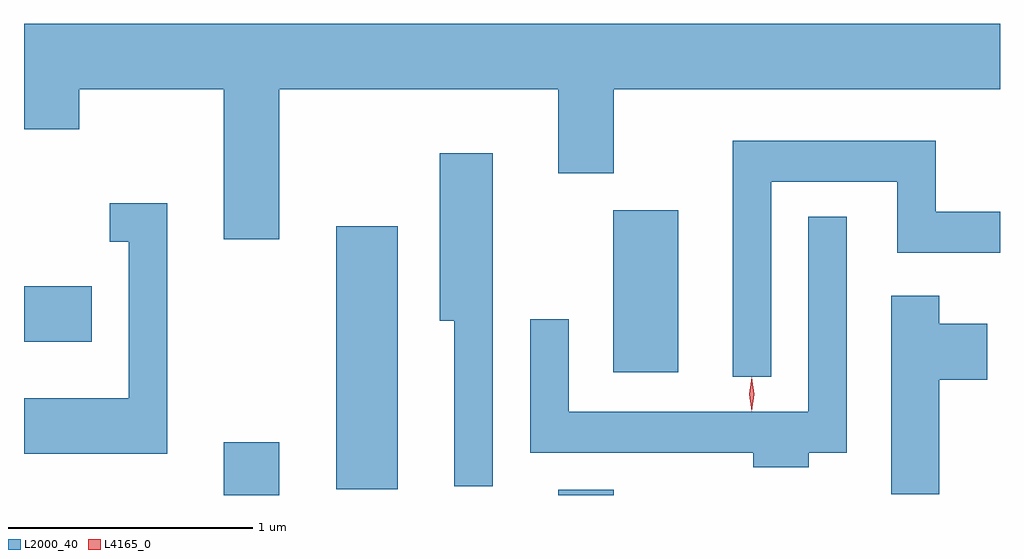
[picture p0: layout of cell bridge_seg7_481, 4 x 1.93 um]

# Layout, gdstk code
import gdstk
lib = gdstk.Library(unit=1e-6, precision=1e-09)
def R(c, l, rs):  # rectangles x0, y0, x1, y1
    for r in rs: c.add(gdstk.rectangle(r[:2], r[2:], *l))
def P(c, l, *ps):  # polygons
    for p in ps: c.add(gdstk.Polygon(p, *l))
L2000_40 = (2000, 40)
L4165_0 = (4165, 0)

bridge_seg7_481 = lib.new_cell('bridge_seg7_481')
R(bridge_seg7_481, L2000_40, [(1420.611,1668.252,1420.839,1668.469), (1421.981,1668.252,1422.209,1668.274), (1421.071,1668.276,1421.324,1669.354), (1422.206,1668.756,1422.474,1669.419), (1419.792,1668.881,1420.069,1669.109)])
P(bridge_seg7_481, L2000_40, [(1420.839,1669.916),(1421.981,1669.916),(1421.981,1669.571),(1422.209,1669.571),(1422.209,1669.916),(1423.792,1669.916),(1423.792,1670.184),(1419.792,1670.184),(1419.792,1669.751),(1420.019,1669.751),(1420.019,1669.916),(1420.611,1669.916),(1420.611,1669.301),(1420.839,1669.301)],
  [(1422.854,1669.536),(1423.371,1669.536),(1423.371,1669.246),(1423.792,1669.246),(1423.792,1669.414),(1423.529,1669.414),(1423.529,1669.704),(1422.696,1669.704),(1422.696,1668.738),(1422.854,1668.738)],
  [(1421.714,1669.654),(1421.496,1669.654),(1421.496,1668.966),(1421.556,1668.966),(1421.556,1668.288),(1421.714,1668.288)],
  [(1420.379,1669.449),(1420.143,1669.449),(1420.143,1669.291),(1420.221,1669.291),(1420.221,1668.649),(1419.792,1668.649),(1419.792,1668.421),(1420.379,1668.421)],
  [(1423.009,1668.426),(1423.164,1668.426),(1423.164,1669.393),(1423.006,1669.393),(1423.006,1668.594),(1422.024,1668.594),(1422.024,1668.973),(1421.866,1668.973),(1421.866,1668.426),(1422.781,1668.426),(1422.781,1668.366),(1423.009,1668.366)],
  [(1423.544,1668.726),(1423.739,1668.726),(1423.739,1668.954),(1423.544,1668.954),(1423.544,1669.069),(1423.346,1669.069),(1423.346,1668.256),(1423.544,1668.256)])
P(bridge_seg7_481, L4165_0, [(1422.775,1668.599),(1422.774,1668.6),(1422.765,1668.666),(1422.774,1668.732),(1422.775,1668.733),(1422.775,1668.732),(1422.785,1668.666),(1422.775,1668.6)],
  [(1422.774,1668.597),(1422.765,1668.666),(1422.774,1668.736),(1422.775,1668.736),(1422.775,1668.736),(1422.785,1668.666),(1422.775,1668.597),(1422.775,1668.597)])

lib.write_gds('bridge_seg7_481.gds')
